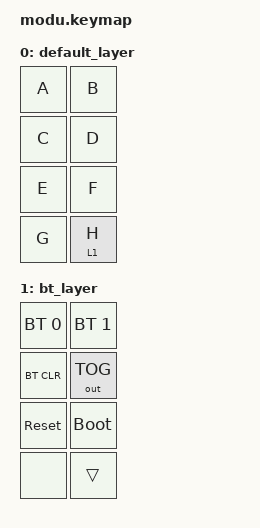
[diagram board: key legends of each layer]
/* config/boards/shields/modu/modu.keymap */

#include <behaviors.dtsi>
#include <dt-bindings/zmk/keys.h>
#include <dt-bindings/zmk/bt.h>
#include <dt-bindings/zmk/outputs.h>
#include <dt-bindings/zmk/mouse.h>

/ {
    keymap {
        compatible = "zmk,keymap";

        /* 0번 레이어: 기본 입력 (테스트용 A~G + 레이어 키) */
        default_layer {
            bindings = <
                &kp A       &kp B
                &kp C       &kp D
                &kp E       &kp F
                &kp G       &lt 1 H  /* [핵심] 톡 치면 H, 꾹 누르면 1번 레이어 활성화 */
            >;
        };

        /* 1번 레이어: 블루투스 및 시스템 설정 (H 키를 누른 상태에서 작동) */
        bt_layer {
            bindings = <
                &bt BT_SEL 0    &bt BT_SEL 1    /* 1번, 2번 기기 선택 */
                &bt BT_CLR      &out OUT_TOG    /* [중요] 페어링 초기화 / USB-블루투스 강제 전환 */
                &sys_reset      &bootloader     /* 리셋 / 부트로더 진입 (비상용) */
                &none           &trans          /* 빈 키 / 레이어 키(투명) */
            >;
        };
    };
};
